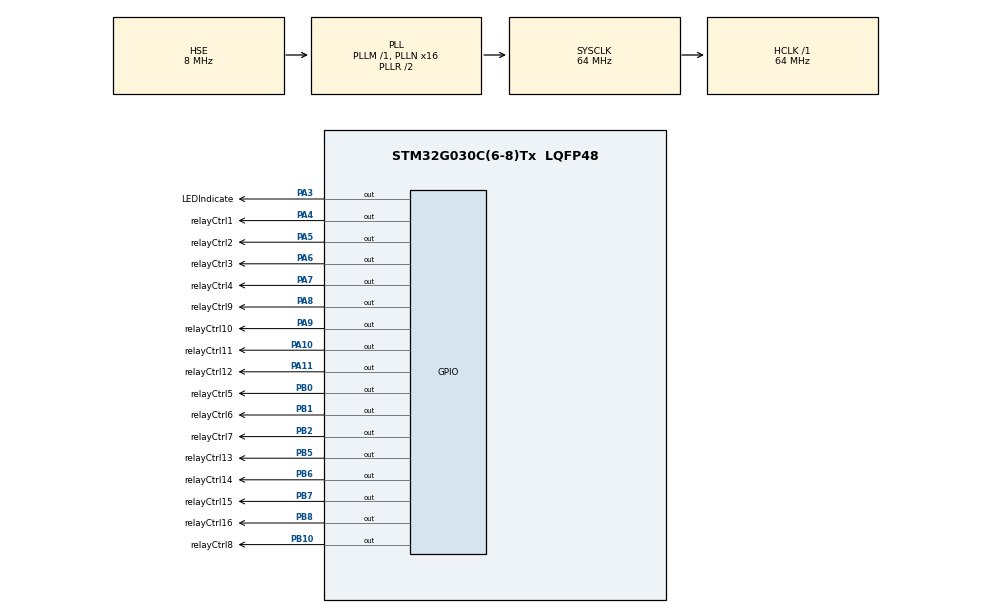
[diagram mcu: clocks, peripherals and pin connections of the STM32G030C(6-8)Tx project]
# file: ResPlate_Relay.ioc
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Mcu.Family=STM32G0
Mcu.Name=STM32G030C(6-8)Tx
Mcu.Package=LQFP48
NVIC.TIM16_IRQn=true\:0\:0\:false\:false\:true\:true\:true\:true
NVIC.TIM17_IRQn=true\:0\:0\:false\:false\:true\:true\:true\:true
PA10.GPIO_Label=relayCtrl11
PA10.Signal=GPIO_Output
PA11\ [PA9].GPIO_Label=relayCtrl12
PA11\ [PA9].Signal=GPIO_Output
PA13.Mode=Serial_Wire
PA13.Signal=SYS_SWDIO
PA14-BOOT0.Mode=Serial_Wire
PA14-BOOT0.Signal=SYS_SWCLK
PA3.GPIO_Label=LEDIndicate
PA3.Signal=GPIO_Output
PA4.GPIO_Label=relayCtrl1
PA4.Signal=GPIO_Output
PA5.GPIO_Label=relayCtrl2
PA5.Signal=GPIO_Output
PA6.GPIO_Label=relayCtrl3
PA6.Signal=GPIO_Output
PA7.GPIO_Label=relayCtrl4
PA7.Signal=GPIO_Output
PA8.GPIO_Label=relayCtrl9
PA8.Signal=GPIO_Output
PA9.GPIO_Label=relayCtrl10
PA9.Signal=GPIO_Output
PB0.GPIO_Label=relayCtrl5
PB0.Signal=GPIO_Output
PB1.GPIO_Label=relayCtrl6
PB1.Signal=GPIO_Output
PB10.GPIO_Label=relayCtrl8
PB10.Signal=GPIO_Output
PB2.GPIO_Label=relayCtrl7
PB2.Signal=GPIO_Output
PB5.GPIO_Label=relayCtrl13
PB5.Signal=GPIO_Output
PB6.GPIO_Label=relayCtrl14
PB6.Signal=GPIO_Output
PB7.GPIO_Label=relayCtrl15
PB7.Signal=GPIO_Output
PB8.GPIO_Label=relayCtrl16
PB8.Signal=GPIO_Output
PF0-OSC_IN\ (PF0).Mode=HSE-External-Oscillator
PF0-OSC_IN\ (PF0).Signal=RCC_OSC_IN
PF1-OSC_OUT\ (PF1).Mode=HSE-External-Oscillator
PF1-OSC_OUT\ (PF1).Signal=RCC_OSC_OUT
ProjectManager.HeapSize=0x200
ProjectManager.StackSize=0x400
ProjectManager.TargetToolchain=MDK-ARM V5
RCC.ADCFreq_Value=64000000
RCC.AHBFreq_Value=64000000
RCC.CortexFreq_Value=64000000
RCC.EXTERNAL_CLOCK_VALUE=12288000
RCC.HCLKFreq_Value=64000000
RCC.HSE_VALUE=8000000
RCC.HSI_VALUE=16000000
RCC.LSE_VALUE=32768
RCC.PLLN=16
RCC.PLLSourceVirtual=RCC_PLLSOURCE_HSE
RCC.SYSCLKFreq_VALUE=64000000
RCC.SYSCLKSource=RCC_SYSCLKSOURCE_PLLCLK
RCC.VCOOutputFreq_Value=128000000
TIM16.Period=500
TIM16.Prescaler=63999
TIM17.Period=2000
TIM17.Prescaler=63999
VP_TIM16_VS_ClockSourceINT.Mode=Enable_Timer
VP_TIM17_VS_ClockSourceINT.Mode=Enable_Timer
board=custom

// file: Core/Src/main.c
/* USER CODE BEGIN Header */
/**
 ******************************************************************************
 * @file           : main.c
 * @brief          : Main program body
 ******************************************************************************
 * @attention
 *
 * Copyright (c) 2024 STMicroelectronics.
 * All rights reserved.
 *
 * This software is licensed under terms that can be found in the LICENSE file
 * in the root directory of this software component.
 * If no LICENSE file comes with this software, it is provided AS-IS.
 *
 ******************************************************************************
 */
/* USER CODE END Header */
#include "main.h"
#include "tim.h"
#include "gpio.h"

void SystemClock_Config(void);

/* USER CODE BEGIN 0 */
/* Variables to store the state of the relays */
uint8_t cycle_2s = 0;
uint8_t cycle_4s = 1;
/* USER CODE END 0 */

int main(void)
{

  /* MCU Configuration--------------------------------------------------------*/

  /* Reset of all peripherals, Initializes the Flash interface and the Systick. */
  HAL_Init();

  /* Configure the system clock */
  SystemClock_Config();

  /* Initialize all configured peripherals */
  MX_GPIO_Init();
  MX_TIM16_Init();
  MX_TIM17_Init();
  /* USER CODE BEGIN 2 */
  HAL_TIM_Base_Start_IT(&htim16);
  HAL_TIM_Base_Start_IT(&htim17);
  /* USER CODE END 2 */

  /* Infinite loop */
  while (1)
  {

  }
}

void SystemClock_Config(void)
{
  RCC_OscInitTypeDef RCC_OscInitStruct = {0};
  RCC_ClkInitTypeDef RCC_ClkInitStruct = {0};

  /** Configure the main internal regulator output voltage
   */
  HAL_PWREx_ControlVoltageScaling(PWR_REGULATOR_VOLTAGE_SCALE1);

  /** Initializes the RCC Oscillators according to the specified parameters
   * in the RCC_OscInitTypeDef structure.
   */
  RCC_OscInitStruct.OscillatorType = RCC_OSCILLATORTYPE_HSE;
  RCC_OscInitStruct.HSEState = RCC_HSE_ON;
  RCC_OscInitStruct.PLL.PLLState = RCC_PLL_ON;
  RCC_OscInitStruct.PLL.PLLSource = RCC_PLLSOURCE_HSE;
  RCC_OscInitStruct.PLL.PLLM = RCC_PLLM_DIV1;
  RCC_OscInitStruct.PLL.PLLN = 16;
  RCC_OscInitStruct.PLL.PLLP = RCC_PLLP_DIV2;
  RCC_OscInitStruct.PLL.PLLR = RCC_PLLR_DIV2;
  if (HAL_RCC_OscConfig(&RCC_OscInitStruct) != HAL_OK)
  {
    Error_Handler();
  }

  /** Initializes the CPU, AHB and APB buses clocks
   */
  RCC_ClkInitStruct.ClockType = RCC_CLOCKTYPE_HCLK | RCC_CLOCKTYPE_SYSCLK | RCC_CLOCKTYPE_PCLK1;
  RCC_ClkInitStruct.SYSCLKSource = RCC_SYSCLKSOURCE_PLLCLK;
  RCC_ClkInitStruct.AHBCLKDivider = RCC_SYSCLK_DIV1;
  RCC_ClkInitStruct.APB1CLKDivider = RCC_HCLK_DIV1;

  if (HAL_RCC_ClockConfig(&RCC_ClkInitStruct, FLASH_LATENCY_2) != HAL_OK)
  {
    Error_Handler();
  }
}

/* USER CODE BEGIN 4 */

/* Timer callback functions */
void HAL_TIM_PeriodElapsedCallback(TIM_HandleTypeDef *htim)
{
  UNUSED(htim);

  if (htim->Instance == TIM16)
  {
    /* Toggle every 1 second */
    cycle_2s = !cycle_2s;

    //    cycle_2s = HAL_GPIO_ReadPin(relayCtrl12_GPIO_Port, relayCtrl12_Pin);
  }
  else if (htim->Instance == TIM17)
  {
    /* Toggle every 4 seconds */
    HAL_GPIO_WritePin(LEDIndicate_GPIO_Port, LEDIndicate_Pin, cycle_4s);
    cycle_4s = !cycle_4s;

    HAL_GPIO_WritePin(relayCtrl12_GPIO_Port, relayCtrl12_Pin, cycle_4s);
    HAL_GPIO_WritePin(relayCtrl5_GPIO_Port, relayCtrl5_Pin, cycle_4s);

    HAL_GPIO_WritePin(relayCtrl14_GPIO_Port, relayCtrl14_Pin, cycle_4s);
    HAL_GPIO_WritePin(relayCtrl3_GPIO_Port, relayCtrl3_Pin, cycle_4s);

    cycle_4s = HAL_GPIO_ReadPin(relayCtrl14_GPIO_Port, relayCtrl14_Pin);
  }
}

/* USER CODE END 4 */

void Error_Handler(void)
{
  __disable_irq();
  while (1)
  {
  }
}
